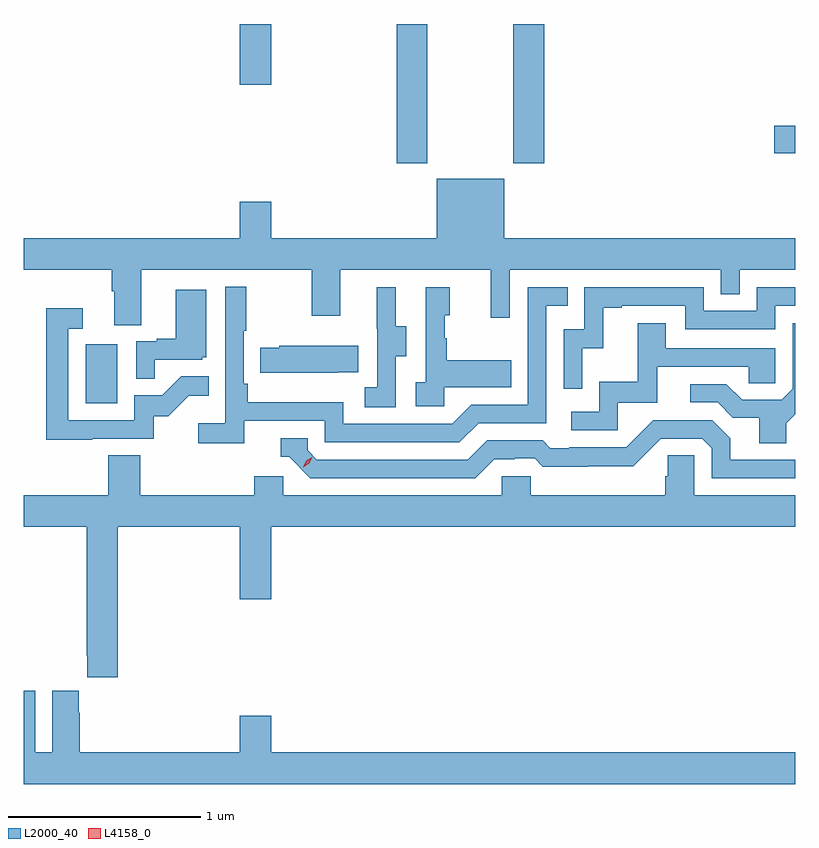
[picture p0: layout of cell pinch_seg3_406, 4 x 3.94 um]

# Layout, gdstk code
import gdstk
lib = gdstk.Library(unit=1e-6, precision=1e-09)
def R(c, l, rs):  # rectangles x0, y0, x1, y1
    for r in rs: c.add(gdstk.rectangle(r[:2], r[2:], *l))
def P(c, l, *ps):  # polygons
    for p in ps: c.add(gdstk.Polygon(p, *l))
L2000_40 = (2000, 40)
L4158_0 = (4158, 0)

pinch_seg3_406 = lib.new_cell('pinch_seg3_406')
R(pinch_seg3_406, L2000_40, [(943.43,696.228,943.594,696.535), (945.041,697.473,945.201,698.194), (945.646,697.473,945.806,698.194), (946.998,697.525,947.108,697.667), (944.228,697.878,944.392,698.194)])
P(pinch_seg3_406, L2000_40, [(945.598,697.393),(945.248,697.393),(945.248,697.084),(944.392,697.084),(944.392,697.273),(944.228,697.273),(944.228,697.084),(943.108,697.084),(943.108,696.92),(943.565,696.92),(943.565,696.808),(943.577,696.808),(943.577,696.634),(943.717,696.634),(943.717,696.92),(944.602,696.92),(944.602,696.681),(944.749,696.681),(944.749,696.92),(945.53,696.92),(945.53,696.672),(945.627,696.672),(945.627,696.92),(946.722,696.92),(946.722,696.793),(946.818,696.793),(946.818,696.92),(947.108,696.92),(947.108,697.084),(945.598,697.084)],
  [(944.252,696.138),(944.67,696.138),(944.67,696.027),(945.367,696.027),(945.466,696.126),(945.816,696.126),(945.816,696.735),(945.929,696.735),(945.929,696.831),(945.72,696.831),(945.72,696.222),(945.429,696.222),(945.33,696.123),(944.766,696.123),(944.766,696.235),(944.27,696.235),(944.27,696.331),(944.25,696.331),(944.25,696.604),(944.263,696.604),(944.263,696.832),(944.154,696.832),(944.154,696.124),(944.013,696.124),(944.013,696.022),(944.252,696.022)],
  [(946.002,696.515),(946.112,696.515),(946.112,696.723),(946.207,696.723),(946.207,696.735),(946.536,696.735),(946.536,696.612),(947.004,696.612),(947.004,696.735),(947.108,696.735),(947.108,696.831),(946.908,696.831),(946.908,696.708),(946.632,696.708),(946.632,696.831),(946.014,696.831),(946.014,696.612),(945.906,696.612),(945.906,696.303),(946.002,696.303)],
  [(945.036,696.472),(945.091,696.472),(945.091,696.627),(945.037,696.627),(945.037,696.829),(944.939,696.829),(944.939,696.615),(944.94,696.615),(944.94,696.311),(944.877,696.311),(944.877,696.208),(945.036,696.208)],
  [(945.288,696.311),(945.635,696.311),(945.635,696.451),(945.301,696.451),(945.301,696.566),(945.291,696.566),(945.291,696.684),(945.316,696.684),(945.316,696.829),(945.192,696.829),(945.192,696.338),(945.141,696.338),(945.141,696.213),(945.288,696.213)],
  [(943.787,696.453),(944.034,696.453),(944.034,696.468),(944.056,696.468),(944.056,696.817),(943.898,696.817),(943.898,696.562),(943.799,696.562),(943.799,696.549),(943.692,696.549),(943.692,696.355),(943.787,696.355)],
  [(943.463,696.045),(943.782,696.045),(943.782,696.162),(943.858,696.162),(943.965,696.269),(944.069,696.269),(944.069,696.368),(943.925,696.368),(943.827,696.27),(943.683,696.27),(943.683,696.141),(943.341,696.141),(943.341,696.615),(943.414,696.615),(943.414,696.721),(943.225,696.721),(943.225,696.04),(943.463,696.04)],
  [(947.059,696.124),(947.108,696.173),(947.108,696.643),(947.094,696.643),(947.094,696.303),(947.037,696.246),(946.831,696.246),(946.75,696.327),(946.563,696.327),(946.563,696.234),(946.704,696.234),(946.784,696.154),(946.919,696.154),(946.919,696.022),(947.059,696.022)],
  [(946.188,696.231),(946.393,696.231),(946.393,696.417),(946.867,696.417),(946.867,696.333),(947.004,696.333),(947.004,696.513),(946.435,696.513),(946.435,696.643),(946.291,696.643),(946.291,696.34),(946.092,696.34),(946.092,696.186),(945.945,696.186),(945.945,696.09),(946.188,696.09)],
  [(944.735,696.389),(944.843,696.389),(944.843,696.526),(944.433,696.526),(944.433,696.516),(944.335,696.516),(944.335,696.386),(944.735,696.386)],
  [(945.547,695.94),(945.654,695.94),(945.654,695.943),(945.757,695.943),(945.799,695.901),(946.032,695.901),(946.032,695.903),(946.268,695.903),(946.41,696.045),(946.626,696.045),(946.674,695.997),(946.674,695.841),(947.108,695.841),(947.108,695.937),(946.771,695.937),(946.771,696.047),(946.677,696.141),(946.371,696.141),(946.23,696),(945.937,696),(945.937,695.997),(945.838,695.997),(945.799,696.036),(945.51,696.036),(945.411,695.937),(944.628,695.937),(944.58,695.985),(944.58,696.048),(944.441,696.048),(944.441,695.952),(944.484,695.952),(944.595,695.841),(945.448,695.841)],
  [(943.547,695.752),(943.108,695.752),(943.108,695.588),(943.435,695.588),(943.435,694.921),(943.439,694.921),(943.439,694.809),(943.595,694.809),(943.595,695.588),(944.228,695.588),(944.228,695.214),(944.392,695.214),(944.392,695.588),(947.108,695.588),(947.108,695.752),(946.584,695.752),(946.584,695.96),(946.447,695.96),(946.447,695.85),(946.433,695.85),(946.433,695.752),(945.735,695.752),(945.735,695.85),(945.585,695.85),(945.585,695.752),(944.454,695.752),(944.454,695.85),(944.303,695.85),(944.303,695.752),(943.712,695.752),(943.712,695.96),(943.547,695.96)],
  [(947.108,694.42),(944.392,694.42),(944.392,694.609),(944.228,694.609),(944.228,694.42),(943.4,694.42),(943.4,694.625),(943.393,694.625),(943.393,694.738),(943.256,694.738),(943.256,694.42),(943.168,694.42),(943.168,694.738),(943.108,694.738),(943.108,694.256),(947.108,694.256)])
P(pinch_seg3_406, L4158_0, [(944.558,695.898),(944.558,695.898),(944.574,695.931),(944.605,695.95),(944.605,695.95),(944.605,695.95),(944.589,695.917),(944.558,695.898)])

lib.write_gds('pinch_seg3_406.gds')
